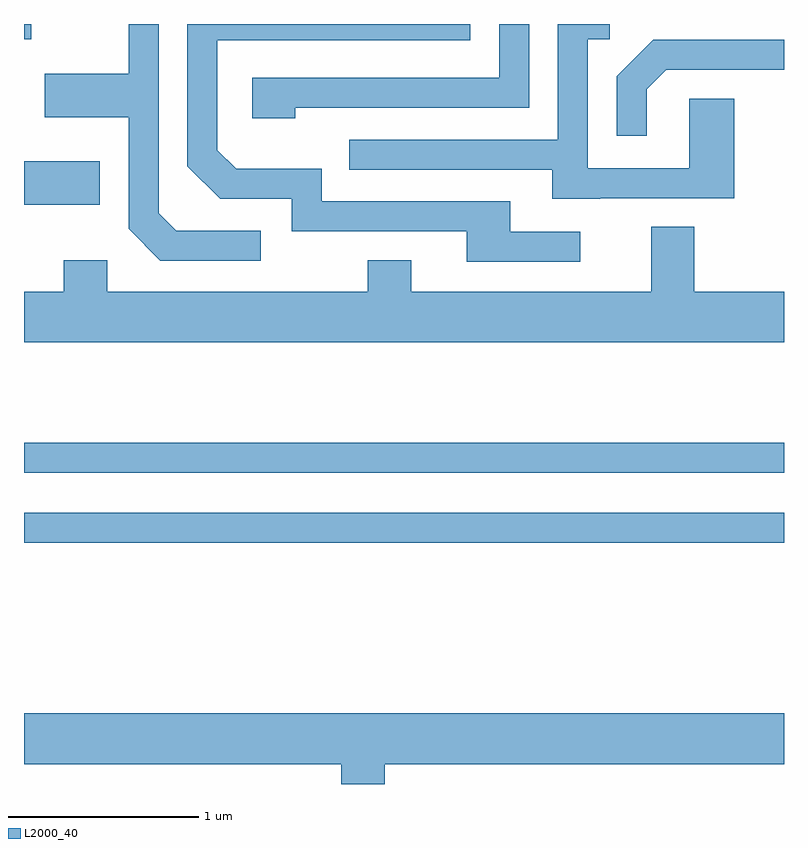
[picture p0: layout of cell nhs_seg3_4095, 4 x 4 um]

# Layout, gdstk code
import gdstk
lib = gdstk.Library(unit=1e-6, precision=1e-09)
def R(c, l, rs):  # rectangles x0, y0, x1, y1
    for r in rs: c.add(gdstk.rectangle(r[:2], r[2:], *l))
def P(c, l, *ps):  # polygons
    for p in ps: c.add(gdstk.Polygon(p, *l))
L2000_40 = (2000, 40)

nhs_seg3_4095 = lib.new_cell('nhs_seg3_4095')
R(nhs_seg3_4095, L2000_40, [(305.611,1147.161,309.611,1147.319), (305.611,1147.531,309.611,1147.689), (305.611,1148.941,306.009,1149.169), (305.611,1149.811,305.648,1149.892)])
P(nhs_seg3_4095, L2000_40, [(307.039,1149.451),(308.269,1149.451),(308.269,1149.892),(308.111,1149.892),(308.111,1149.609),(306.811,1149.609),(306.811,1149.396),(307.039,1149.396)],
  [(306.858,1148.804),(306.412,1148.804),(306.319,1148.897),(306.319,1149.892),(306.161,1149.892),(306.161,1149.629),(305.721,1149.629),(305.721,1149.401),(306.161,1149.401),(306.161,1148.814),(306.329,1148.646),(306.858,1148.646)],
  [(308.538,1148.799),(308.169,1148.799),(308.169,1148.959),(307.179,1148.959),(307.179,1149.129),(306.727,1149.129),(306.629,1149.227),(306.629,1149.806),(307.959,1149.806),(307.959,1149.892),(306.471,1149.892),(306.471,1149.144),(306.644,1148.971),(307.021,1148.971),(307.021,1148.801),(307.941,1148.801),(307.941,1148.641),(308.538,1148.641)],
  [(308.645,1148.976),(309.349,1148.976),(309.349,1149.499),(309.111,1149.499),(309.111,1149.134),(308.579,1149.134),(308.579,1149.811),(308.693,1149.811),(308.693,1149.892),(308.421,1149.892),(308.421,1149.284),(307.323,1149.284),(307.323,1149.126),(308.391,1149.126),(308.391,1148.971),(308.645,1148.971)],
  [(308.889,1149.549),(308.992,1149.651),(309.611,1149.651),(309.611,1149.809),(308.924,1149.809),(308.731,1149.617),(308.731,1149.303),(308.889,1149.303)],
  [(309.611,1148.484),(309.139,1148.484),(309.139,1148.824),(308.911,1148.824),(308.911,1148.484),(307.649,1148.484),(307.649,1148.649),(307.421,1148.649),(307.421,1148.484),(306.049,1148.484),(306.049,1148.649),(305.821,1148.649),(305.821,1148.484),(305.611,1148.484),(305.611,1148.216),(309.611,1148.216)],
  [(307.509,1145.996),(309.611,1145.996),(309.611,1146.264),(305.611,1146.264),(305.611,1145.996),(307.281,1145.996),(307.281,1145.892),(307.509,1145.892)])

lib.write_gds('nhs_seg3_4095.gds')
